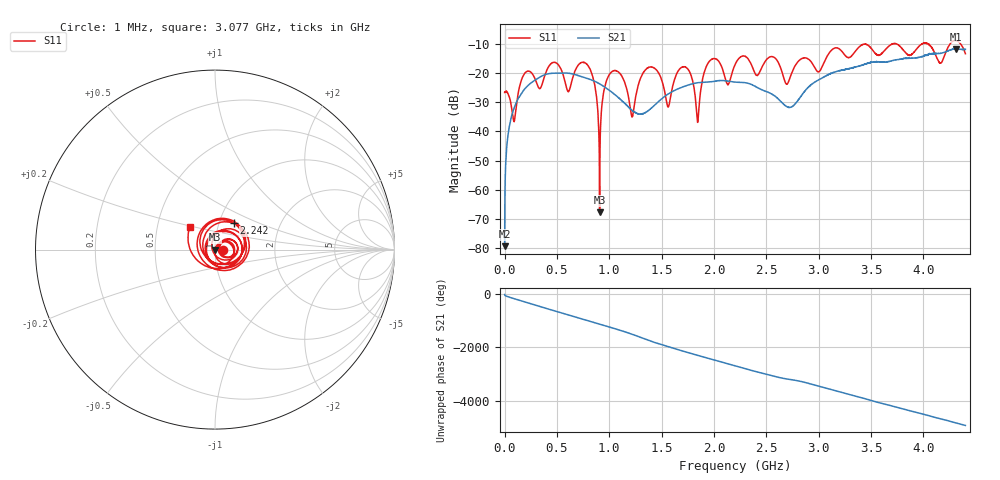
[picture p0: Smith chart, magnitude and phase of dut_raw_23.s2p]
!Created with skrf (http://scikit-rf.org).
# Hz S RI R 50.0
!freq ReS11 ImS11 ReS21 ImS21 ReS12 ImS12 ReS22 ImS22
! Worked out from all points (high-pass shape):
!   4400 points, 1 MHz to 4.4 GHz, reference 50 ohm
!   highest |S21| = -11.80 dB at 4.31 GHz (marker M1); lowest = -79.3 dB at 1 MHz (marker M2)
!   |S21| within 3 dB of the highest: 3.939326 GHz to 3.942245 GHz (2.919 MHz wide, 0.0741 % of centre); 3.943 GHz to end of sweep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
!   lowest |S11| = -67.7 dB at 908 MHz (marker M3), VSWR 1.00, Z = 50 + j0.0411 ohm
!   |S11| at or under -10 dB: start of sweep to 3.711 GHz; 3.734 GHz to 3.99 GHz (255.4 MHz wide, 6.61 % of centre); 4.04 GHz to 4.255 GHz (214.5 MHz wide, 5.17 % of centre)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
!   S12 and S22 are empty: the file has one direction only
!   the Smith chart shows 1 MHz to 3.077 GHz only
!   S11 on the Smith chart (normalised r, x): 1 MHz: 1.10, +0.00; 2.242 GHz: 1.17, +0.36; 3.077 GHz: 0.73, +0.19
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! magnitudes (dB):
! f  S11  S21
! 1 MHz  -26.7  -79.3
! 38 MHz  -27.5  -40.1
! 91 MHz  -36.6  -32.1
! 138 MHz  -25.6  -28.3
! 735 MHz  -16.5  -21.3
! 843 MHz  -21.4  -22.6
! 908 MHz  -67.7  -23.8
! 1.018 GHz  -19.8  -26.4
! 1.218 GHz  -34.8  -32.8
! 1.468 GHz  -19.8  -29.9
! 1.563 GHz  -31.6  -27.2
! 1.742 GHz  -18.4  -24.3
! 1.844 GHz  -36.9  -23.4
! 1.956 GHz  -16.0  -23.1
! 2.201 GHz  -17.1  -23.2
! 2.242 GHz  -14.9  -23.2
! 2.719 GHz  -22.3  -31.8
! 2.934 GHz  -16.5  -23.9
! 3.077 GHz  -14.5  -20.9
! 3.667 GHz  -10.9  -16.1
! 4.31 GHz  -9.0  -11.8
! 4.4 GHz  -13.4  -12.0
